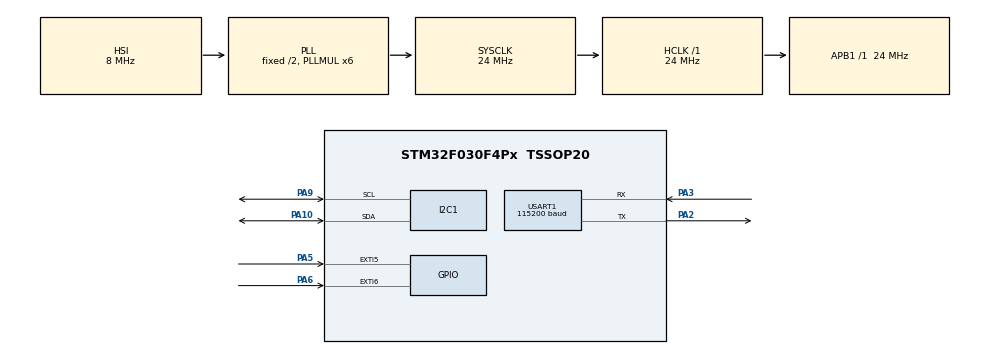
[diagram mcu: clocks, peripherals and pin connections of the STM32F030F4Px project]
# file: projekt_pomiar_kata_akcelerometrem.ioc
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I2C1.Timing=0x2000090E
Mcu.Family=STM32F0
Mcu.Name=STM32F030F4Px
Mcu.Package=TSSOP20
NVIC.TIM16_IRQn=true\:0\:0\:false\:false\:true
NVIC.USART1_IRQn=true\:0\:0\:false\:false\:true
PA10.Mode=I2C
PA10.Signal=I2C1_SDA
PA13.Mode=Serial_Wire
PA13.Signal=SYS_SWDIO
PA14.Mode=Serial_Wire
PA14.Signal=SYS_SWCLK
PA2.Mode=Asynchronous
PA2.Signal=USART1_TX
PA3.Mode=Asynchronous
PA3.Signal=USART1_RX
PA5.Signal=GPXTI5
PA6.Signal=GPXTI6
PA9.Mode=I2C
PA9.Signal=I2C1_SCL
ProjectManager.HeapSize=0x200
ProjectManager.StackSize=0x400
ProjectManager.TargetToolchain=MDK-ARM V5
RCC.AHBFreq_Value=24000000
RCC.APB1Freq_Value=24000000
RCC.APB1TimFreq_Value=24000000
RCC.HCLKFreq_Value=24000000
RCC.PLLMUL=RCC_PLL_MUL6
RCC.SYSCLKFreq_VALUE=24000000
RCC.SYSCLKSource=RCC_SYSCLKSOURCE_PLLCLK
TIM16.Period=2399
TIM16.Prescaler=9999
USART1.BaudRate=115200
VP_TIM16_VS_ClockSourceINT.Mode=Enable_Timer
board=ceta_projekt

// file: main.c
/**
  ******************************************************************************
  * File Name          : main.c
  * Description        : Main program body
  ******************************************************************************
  *
  * COPYRIGHT(c) 2016 STMicroelectronics
  *
  * Redistribution and use in source and binary forms, with or without modification,
  * are permitted provided that the following conditions are met:
  *   1. Redistributions of source code must retain the above copyright notice,
  *      this list of conditions and the following disclaimer.
  *   2. Redistributions in binary form must reproduce the above copyright notice,
  *      this list of conditions and the following disclaimer in the documentation
  *      and/or other materials provided with the distribution.
  *   3. Neither the name of STMicroelectronics nor the names of its contributors
  *      may be used to endorse or promote products derived from this software
  *      without specific prior written permission.
  *
  * THIS SOFTWARE IS PROVIDED BY THE COPYRIGHT HOLDERS AND CONTRIBUTORS "AS IS"
  * AND ANY EXPRESS OR IMPLIED WARRANTIES, INCLUDING, BUT NOT LIMITED TO, THE
  * IMPLIED WARRANTIES OF MERCHANTABILITY AND FITNESS FOR A PARTICULAR PURPOSE ARE
  * DISCLAIMED. IN NO EVENT SHALL THE COPYRIGHT HOLDER OR CONTRIBUTORS BE LIABLE
  * FOR ANY DIRECT, INDIRECT, INCIDENTAL, SPECIAL, EXEMPLARY, OR CONSEQUENTIAL
  * DAMAGES (INCLUDING, BUT NOT LIMITED TO, PROCUREMENT OF SUBSTITUTE GOODS OR
  * SERVICES; LOSS OF USE, DATA, OR PROFITS; OR BUSINESS INTERRUPTION) HOWEVER
  * CAUSED AND ON ANY THEORY OF LIABILITY, WHETHER IN CONTRACT, STRICT LIABILITY,
  * OR TORT (INCLUDING NEGLIGENCE OR OTHERWISE) ARISING IN ANY WAY OUT OF THE USE
  * OF THIS SOFTWARE, EVEN IF ADVISED OF THE POSSIBILITY OF SUCH DAMAGE.
  *
  ******************************************************************************
  */
#include "stm32f0xx_hal.h"
#include "i2c.h"
#include "tim.h"
#include "usart.h"
#include "gpio.h"

/* USER CODE BEGIN Includes */

#include <limits.h> // stale definiujace wartosci typów zmiennych
#include <math.h> // funkcje matematyczne
#define M_PI 3.14159265358979323846 // stala wykorzystywana przy obliczaniu rotacji

const float PRZYSPIESZENIE_ZIEMSKIE = 9.80665; // m/(s^2) stala wykorzystywana przy normalizacji pomiaru
const float ROZDZIELCZOSC_AKCELEROMETRU =  2.0; // +/- 2g  stala odpowiadajaca przyjetej rozdzielczosci w akcelerometrze
#define MMA8451Q_USTAWIENIA 0x19 // wlaczamy ODR na 100 Hz i wlaczamy pomiar danych

#define MMA8451Q_ADRESS (0x1C<<1) // adres urzadzenia
#define MMA8451Q_CTRL_REG1 0x2A // [ASLP_RATE1][ASLP_RATE0][DR2][DR1][DR0][LNOISE][F_READ][ACTIVE]

#define MMA8451Q_OUT_X_MSB 0x01
#define MMA8451Q_OUT_X_LSB 0x02
#define MMA8451Q_OUT_Y_MSB 0x03
#define MMA8451Q_OUT_Y_LSB 0x04
#define MMA8451Q_OUT_Z_MSB 0x05
#define MMA8451Q_OUT_Z_LSB 0x06

/* USER CODE END Includes */

/* USER CODE BEGIN PV */
/* Private variables ---------------------------------------------------------*/
uint8_t tab_osie[6];

int16_t os_x = 0;
int16_t os_y = 0;
int16_t os_z = 0;

float os_x_g = 0;
float os_y_g = 0;
float os_z_g = 0;

float roll = 0;
float pitch = 0;

uint8_t tab[64];
uint16_t rozmiar_tab = 0;
/* USER CODE END PV */

void SystemClock_Config(void);
void Error_Handler(void);

/* USER CODE BEGIN PFP */
/* Private function prototypes -----------------------------------------------*/
void HAL_TIM_PeriodElapsedCallback(TIM_HandleTypeDef *htim){
	// wyslanie informacji przez uart
	rozmiar_tab = sprintf(tab, "os_x: %d, os_y: %d, os_z: %d, roll: %d, pitch: %d \n\r", (int)os_x_g, (int)os_y_g, (int)os_z_g, (int)roll, (int)pitch);
	HAL_UART_Transmit_IT(&huart1, tab, rozmiar_tab);
}
/* USER CODE END PFP */

int main(void)
{

  /* MCU Configuration----------------------------------------------------------*/

  /* Reset of all peripherals, Initializes the Flash interface and the Systick. */
  HAL_Init();

  /* Configure the system clock */
  SystemClock_Config();

  /* Initialize all configured peripherals */
  MX_GPIO_Init();
  MX_I2C1_Init();
  MX_USART1_UART_Init();
  MX_TIM16_Init();

  /* USER CODE BEGIN 2 */
	HAL_TIM_Base_Start_IT(&htim16);
	// ustawienie rejestrów akcelerometru
	uint8_t ustawienia = MMA8451Q_USTAWIENIA;
	HAL_I2C_Mem_Write(&hi2c1, MMA8451Q_ADRESS, MMA8451Q_CTRL_REG1, 1, &ustawienia, 1, 100);
  /* USER CODE END 2 */

  /* Infinite loop */
  while (1)
  {

  /* USER CODE BEGIN 3 */
	// odczyt danych z akcelerometru
	HAL_I2C_Mem_Read(&hi2c1, MMA8451Q_ADRESS, MMA8451Q_OUT_X_MSB , 1, tab_osie, 6, 100);

	// wartosci surowe
	os_x = ( (tab_osie[0] << 8) | tab_osie[1] );
	os_y = ( (tab_osie[2] << 8) | tab_osie[3] );
	os_z = ( (tab_osie[4] << 8) | tab_osie[5] );

	// skalowanie do ustawionej rozdzielczosci
	os_x_g = ((float)os_x * ROZDZIELCZOSC_AKCELEROMETRU)/(float)INT16_MAX;
	os_y_g = ((float)os_y * ROZDZIELCZOSC_AKCELEROMETRU)/(float)INT16_MAX;
	os_z_g = ((float)os_z * ROZDZIELCZOSC_AKCELEROMETRU)/(float)INT16_MAX;

	// normalizowanie
	os_x_g = os_x_g * PRZYSPIESZENIE_ZIEMSKIE;
	os_y_g = os_y_g * PRZYSPIESZENIE_ZIEMSKIE;
	os_z_g = os_z_g * PRZYSPIESZENIE_ZIEMSKIE;

	// przeliczanie katów
	pitch = -(atan2(os_x_g,sqrt(os_y_g*os_y_g + os_z_g*os_z_g)) *180.0) /M_PI;
	roll = (atan2(os_y_g,os_z_g) *180.0) /M_PI;
  }
  /* USER CODE END 3 */

}

/** System Clock Configuration
*/
void SystemClock_Config(void)
{

  RCC_OscInitTypeDef RCC_OscInitStruct;
  RCC_ClkInitTypeDef RCC_ClkInitStruct;
  RCC_PeriphCLKInitTypeDef PeriphClkInit;

  RCC_OscInitStruct.OscillatorType = RCC_OSCILLATORTYPE_HSI;
  RCC_OscInitStruct.HSIState = RCC_HSI_ON;
  RCC_OscInitStruct.HSICalibrationValue = 16;
  RCC_OscInitStruct.PLL.PLLState = RCC_PLL_ON;
  RCC_OscInitStruct.PLL.PLLSource = RCC_PLLSOURCE_HSI;
  RCC_OscInitStruct.PLL.PLLMUL = RCC_PLL_MUL6;
  RCC_OscInitStruct.PLL.PREDIV = RCC_PREDIV_DIV1;
  if (HAL_RCC_OscConfig(&RCC_OscInitStruct) != HAL_OK)
  {
    Error_Handler();
  }

  RCC_ClkInitStruct.ClockType = RCC_CLOCKTYPE_HCLK|RCC_CLOCKTYPE_SYSCLK
                              |RCC_CLOCKTYPE_PCLK1;
  RCC_ClkInitStruct.SYSCLKSource = RCC_SYSCLKSOURCE_PLLCLK;
  RCC_ClkInitStruct.AHBCLKDivider = RCC_SYSCLK_DIV1;
  RCC_ClkInitStruct.APB1CLKDivider = RCC_HCLK_DIV1;
  if (HAL_RCC_ClockConfig(&RCC_ClkInitStruct, FLASH_LATENCY_0) != HAL_OK)
  {
    Error_Handler();
  }

  PeriphClkInit.PeriphClockSelection = RCC_PERIPHCLK_USART1|RCC_PERIPHCLK_I2C1;
  PeriphClkInit.Usart1ClockSelection = RCC_USART1CLKSOURCE_PCLK1;
  PeriphClkInit.I2c1ClockSelection = RCC_I2C1CLKSOURCE_HSI;
  if (HAL_RCCEx_PeriphCLKConfig(&PeriphClkInit) != HAL_OK)
  {
    Error_Handler();
  }

  HAL_SYSTICK_Config(HAL_RCC_GetHCLKFreq()/1000);

  HAL_SYSTICK_CLKSourceConfig(SYSTICK_CLKSOURCE_HCLK);

  /* SysTick_IRQn interrupt configuration */
  HAL_NVIC_SetPriority(SysTick_IRQn, 0, 0);
}

void Error_Handler(void)
{
  while(1)
  {
  }
}

/************************ (C) COPYRIGHT STMicroelectronics *****END OF FILE****/
